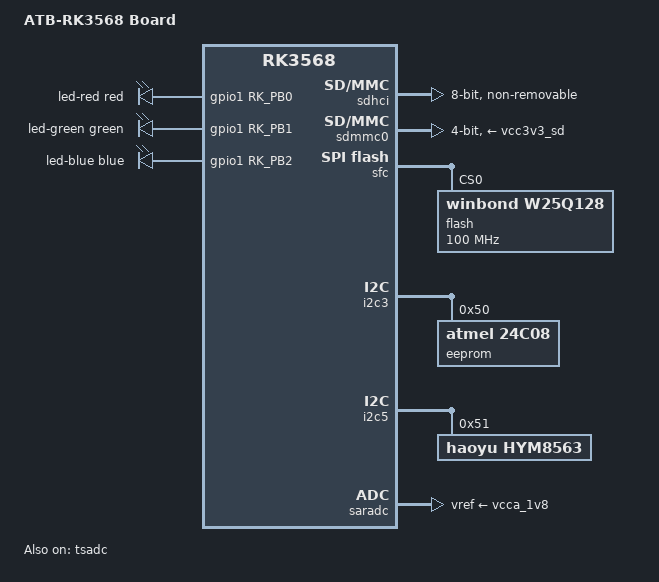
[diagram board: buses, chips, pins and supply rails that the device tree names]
/dts-v1/;
#include <dt-bindings/gpio/gpio.h>
#include <dt-bindings/leds/common.h>
#include <dt-bindings/pinctrl/rockchip.h>
#include "rk3568.dtsi"

#include "atb-rk3568-mpc-m2-ethernet.dtsi"
#include "atb-rk3568-mpc-m2-pcie.dtsi"
#include "atb-rk3568-mpc-m2-usb.dtsi"
#include "atb-rk3568-mpc-m2-video.dtsi"
#include "atb-rk3568-mpc-m2-wireless.dtsi"
#include "atb-rk3568-mpc-m2-power.dtsi"

/ {
	model = "ATB-RK3568 Board";
	compatible = "rockchip,rk3568";

	aliases {
		ethernet0 = &gmac0;
		ethernet1 = &gmac1;
		mmc0 = &sdhci;
		mmc1 = &sdmmc0;
	};

	chosen: chosen {
		bootargs = "earlycon=uart8250,mmio32,0xfe660000 console=ttyFIQ0";
	};

	fiq-debugger {
		compatible = "rockchip,fiq-debugger";
		rockchip,serial-id = <2>;
		rockchip,wake-irq = <0>;
		/* If enable uart uses irq instead of fiq */
		rockchip,irq-mode-enable = <1>;
		rockchip,baudrate = <1500000>;  /* Only 115200 and 1500000 */
		interrupts = <GIC_SPI 252 IRQ_TYPE_LEVEL_LOW>;
		pinctrl-names = "default";
		pinctrl-0 = <&uart2m0_xfer>;
		status = "okay";
	};

	debug: debug@fd904000 {
		compatible = "rockchip,debug";
		reg = <0x0 0xfd904000 0x0 0x1000>,
			<0x0 0xfd905000 0x0 0x1000>,
			<0x0 0xfd906000 0x0 0x1000>,
			<0x0 0xfd907000 0x0 0x1000>;
	};

	gpio-leds {
		compatible = "gpio-leds";

		led-red {
			label = "led-red";
			gpios = <&gpio1 RK_PB0 GPIO_ACTIVE_HIGH>;
			color = <LED_COLOR_ID_RED>;
			default-state = "off";
		};

		led-green {
			label = "led-green";
			gpios = <&gpio1 RK_PB1 GPIO_ACTIVE_HIGH>;
			color = <LED_COLOR_ID_GREEN>;
			default-state = "off";
		};

		led-blue {
			label = "led-blue";
			gpios = <&gpio1 RK_PB2 GPIO_ACTIVE_HIGH>;
			color = <LED_COLOR_ID_BLUE>;
			default-state = "on";
			linux,default-trigger = "heartbeat";
		};
	};
};

&pinctrl {

	leds {
		led_red_pin: led_red_pin {
			// active low
			rockchip,pins = <1 RK_PB0 RK_FUNC_GPIO &pcfg_pull_none>;
		};
		led_green_pin: led_green_pin {
			// active low
			rockchip,pins = <1 RK_PB1 RK_FUNC_GPIO &pcfg_pull_none>;
		};
		led_blue_pin: led_blue_pin {
			// active low
			rockchip,pins = <1 RK_PB2 RK_FUNC_GPIO &pcfg_pull_none>;
		};
	};
};

&cpu0 {
	cpu-supply = <&vdd_cpu>;
};

&cpu1 {
	cpu-supply = <&vdd_cpu>;
};

&cpu2 {
	cpu-supply = <&vdd_cpu>;
};

&cpu3 {
	cpu-supply = <&vdd_cpu>;
};

// EMMC0 - D11
&sdhci {
	bus-width = <8>;
	max-frequency = <200000000>;
	non-removable;
	pinctrl-names = "default";
	pinctrl-0 = <&emmc_bus8 &emmc_clk &emmc_cmd &emmc_datastrobe>;
	status = "okay";
};

// SDMMC0 - X6
&sdmmc0 {
	max-frequency = <150000000>;
	supports-sd;
	bus-width = <4>;
	cap-mmc-highspeed;
	cap-sd-highspeed;
	disable-wp;
	sd-uhs-sdr104;
	vmmc-supply = <&vcc3v3_sd>;
	vqmmc-supply = <&vccio_sd>;
	pinctrl-names = "default";
	pinctrl-0 = <&sdmmc0_bus4 &sdmmc0_clk &sdmmc0_cmd &sdmmc0_det>;
	status = "okay";
};

// QSPI
&sfc {
	pinctrl-names = "default";
	pinctrl-0 = <&fspi_pins>;
	status = "okay";

	// Flash - D26
	flash@0 {
		compatible = "winbond,w25q128", "jedec,spi-nor";
		reg = <0>;
		spi-max-frequency = <100000000>;
	};
};


&i2c3 {
	pinctrl-0 = <&i2c3m0_xfer>;
	pinctrl-names = "default";
	status = "okay";

	// EEPROM - D28
	eeprom@50 {
		compatible = "atmel,24c08";
		reg = <0x50>;
		pagesize = <16>;
	};
};

&i2c5 {
	pinctrl-0 = <&i2c5m0_xfer>;
	pinctrl-names = "default";
	status = "okay";

	// D18
	hym8563: rtc@51 {
		compatible = "haoyu,hym8563";
		reg = <0x51>;
		#clock-cells = <0>;
		clock-output-names = "rtc_32khz";

		rtc_clock: rtc_clock {
			compatible = "fixed-clock";
			#clock-cells = <0>;
			clock-frequency = <32768>;
		};
	};
};

&saradc {
	vref-supply = <&vcca_1v8>;
	status = "okay";
};

&tsadc {
	status = "okay";
};
